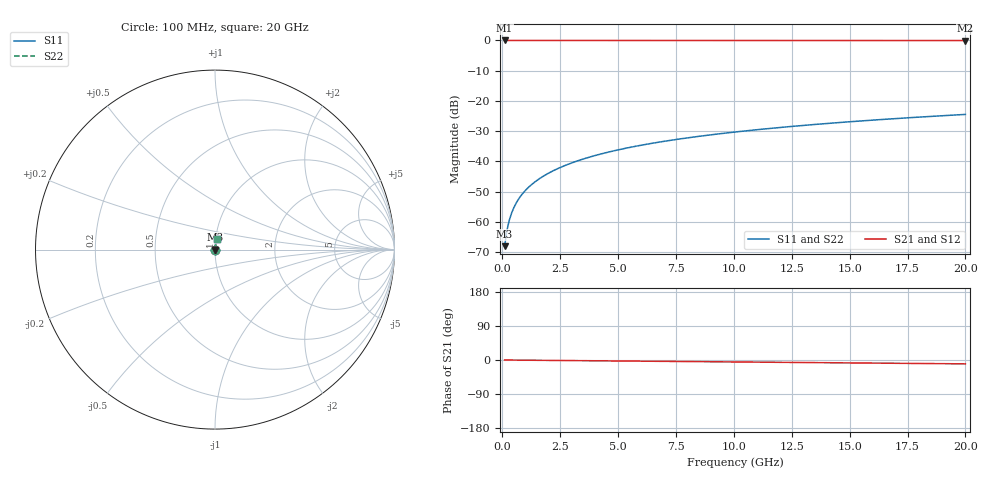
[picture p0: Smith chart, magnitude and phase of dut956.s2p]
! Touchstone file exported from HFSS 2026.1.0
!  File:  C:/ffzhzh/LocalFiles/Ansys_Project_Files/temp_train_TSV_956_1783187406_22436.aedt
!  Generated:  01:52:03 AM Jul  5, 2026
!  Design:  TSV
!  Project:  temp_train_TSV_956_1783187406_22436
! Variables:
!  h_bsmrdl = 2um
!  h_ox = 20um
!  h_rdl = 5um
!  h_sub = 94.33um
!  h_tmrdl = 5um
!  h_tsv = 94.33um
!  h_via = 3um
!  l_bsmrdl = 300um
!  l_sub = 416.52um
!  l_tmrdl = 200um
!  m_sub = 200um
!  pitch = 53.16um
!  r_tsv = 8.26um
!  s_tmrdl = 10um
!  w_bsmrdl = 18um
!  w_sub = 500um
!  w_tmrdl = 12um
!  x_tsv_center1 = 206um
!  x_tsv_center2 = 524um
!  x_tsv_center3 = 736um
!  x_tsv_center4 = 1054um
!  x_tsv_center5 = 1266um
!  x_tsv_center6 = 1584um
# GHz S MA R 50.000000
! Terminal data exported
! Port[1] = TSV1_1_T1
! Port[2] = TSV1_1_T2
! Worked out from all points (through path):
!   200 points, 100 MHz to 20 GHz, reference 50 ohm
!   highest |S21| = 0.00 dB at 100 MHz (marker M1); lowest = 0.0 dB at 20 GHz (marker M2)
!   group delay of S21, straight-line fit = 1.41 ps
!   lowest |S11| = -68.0 dB at 100 MHz (marker M3), VSWR 1.00, Z = 50 + j0.0349 ohm
!   |S11| at or under -10 dB: start of sweep to end of sweep
!   |S22| runs from -68.0 to -24.5 dB; largest |S21 - S12| = 4.7e-15
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0.1  0.0003981 61.1  0.9998 -0.1  0.9998 -0.1  0.0003981 61.1
! Gamma 0 0 0 0
! Port Impedance 50 0 50 0
0.2  0.0007242 73.6  0.9998 -0.1  0.9998 -0.1  0.0007242 73.6
0.3  0.001061 77.9  0.9998 -0.2  0.9998 -0.2  0.001061 77.9
0.4  0.001397 79.9  0.9998 -0.2  0.9998 -0.2  0.001397 79.9
0.5  0.001729 80.9  0.9997 -0.3  0.9997 -0.3  0.001729 80.9
0.6  0.002056 81.6  0.9997 -0.3  0.9997 -0.3  0.002056 81.6
0.7  0.002379 82.0  0.9997 -0.4  0.9997 -0.4  0.002379 82.0
0.8  0.002699 82.4  0.9997 -0.4  0.9997 -0.4  0.002699 82.4
1  0.003329 82.9  0.9996 -0.5  0.9996 -0.5  0.003329 82.9
1.4  0.004568 83.5  0.9995 -0.7  0.9995 -0.7  0.004568 83.5
1.7  0.00549 83.9  0.9995 -0.9  0.9995 -0.9  0.00549 83.9
2  0.00641 84.2  0.9994 -1.0  0.9994 -1.0  0.00641 84.2
2.7  0.008552 84.5  0.9993 -1.4  0.9993 -1.4  0.008552 84.5
3.5  0.01099 84.6  0.9993 -1.8  0.9993 -1.8  0.01099 84.6
4.2  0.01312 84.6  0.9992 -2.2  0.9992 -2.2  0.01312 84.6
5  0.01554 84.4  0.9991 -2.6  0.9991 -2.6  0.01554 84.4
6.8  0.02096 83.9  0.9988 -3.5  0.9988 -3.5  0.02096 83.9
8.3  0.02545 83.4  0.9986 -4.3  0.9986 -4.3  0.02545 83.4
10.1  0.03082 82.7  0.9984 -5.2  0.9984 -5.2  0.03082 82.7
13.4  0.0406 81.3  0.9978 -6.8  0.9978 -6.8  0.0406 81.3
16.7  0.05029 79.8  0.9972 -8.5  0.9972 -8.5  0.05029 79.8
20  0.0599 78.2  0.9966 -10.2  0.9966 -10.2  0.0599 78.2
